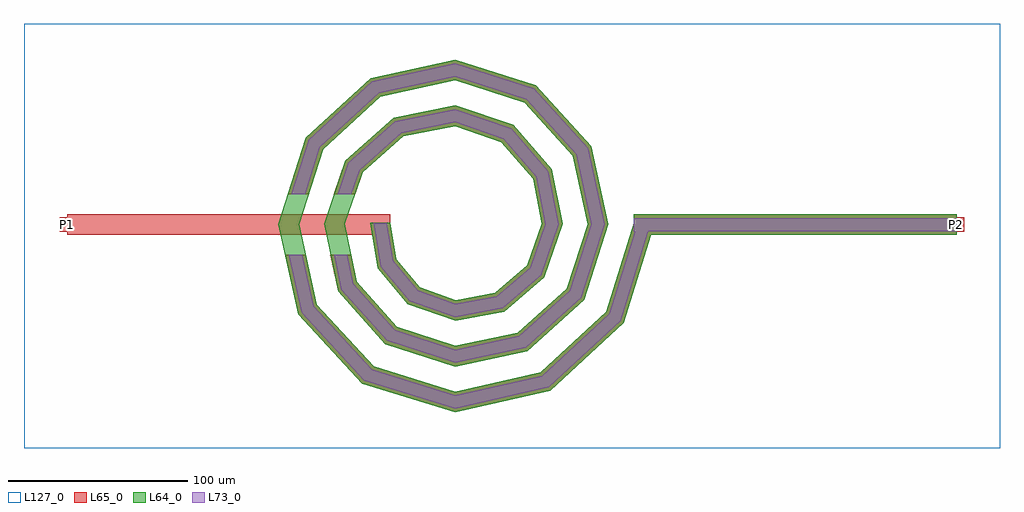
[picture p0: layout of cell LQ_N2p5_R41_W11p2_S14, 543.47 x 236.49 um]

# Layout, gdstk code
import gdstk
lib = gdstk.Library(unit=1e-6, precision=1e-09)
def R(c, l, rs):  # rectangles x0, y0, x1, y1
    for r in rs: c.add(gdstk.rectangle(r[:2], r[2:], *l))
def P(c, l, *ps):  # polygons
    for p in ps: c.add(gdstk.Polygon(p, *l))
L64_0 = (64, 0)
L65_0 = (65, 0)
L73_0 = (73, 0)
L127_0 = (127, 0)

lq_n2p5_r41_w11p2_s14 = lib.new_cell('LQ_N2p5_R41_W11p2_S14')
R(lq_n2p5_r41_w11p2_s14, L64_0, [(99.599,-5.6,279.599,5.6)])
P(lq_n2p5_r41_w11p2_s14, L64_0, [(-32.49,-19.365),(-19.537,-34.841),(0.479,-42.065),(22.491,-38.038),(40.326,-22.774),(48.433,0.423),(43.58,25.631),(26,45.818),(0.379,54.803),(-28.78,49.117),(-51.316,29.219),(-61.174,0.343),(-54.651,-31.937),(-32.432,-56.818),(0.313,-67.545),(35.098,-60.183),(62.322,-35.64),(73.917,0.288),(65.713,38.263),(38.845,67.829),(0.267,80.288),(-41.432,71.241),(-73.338,42.048),(-86.66,0.248),(-76.768,-44.603),(-45.249,-78.848),(0.232,-93.032),(47.775,-82.294),(84.359,-48.447),(99.848,1.654),(110.549,-1.654),(94.171,-54.627),(53.175,-92.557),(0.232,-104.619),(-51.453,-88.645),(-87.045,-49.975),(-98.246,0.248),(-83.117,48.281),(-46.773,81.534),(0.267,91.873),(45.111,77.588),(76.025,43.569),(85.5,0.288),(72.057,-41.944),(40.362,-70.517),(0.313,-79.126),(-38.78,-66.524),(-65.011,-37.151),(-72.752,0.343),(-60.988,35.62),(-33.934,59.508),(0.379,66.377),(32.466,55.448),(54.007,30.711),(60.002,0.423),(49.903,-29.32),(27.478,-48.511),(0.479,-53.626),(-26.184,-44.35),(-43.022,-24.232),(-46.993,0.941),(-35.952,0.941)])
R(lq_n2p5_r41_w11p2_s14, L65_0, [(-215.873,-5.6,-35.873,5.6), (99.599,-5.6,279.599,5.6), (-219.873,-4,-211.873,4), (275.599,-4,283.599,4)])
P(lq_n2p5_r41_w11p2_s14, L65_0, [(-76.768,-44.603),(-45.249,-78.848),(0.232,-93.032),(47.775,-82.294),(84.359,-48.447),(99.848,1.654),(110.549,-1.654),(94.171,-54.627),(53.175,-92.557),(0.232,-104.62),(-51.453,-88.645),(-87.045,-49.975),(-94.444,-16.8),(-82.969,-16.8)],
  [(-54.651,-31.937),(-32.432,-56.818),(0.313,-67.545),(35.098,-60.183),(62.322,-35.64),(73.917,0.288),(65.713,38.263),(38.845,67.829),(0.267,80.288),(-41.432,71.241),(-73.338,42.048),(-81.29,16.8),(-93.033,16.8),(-83.117,48.281),(-46.773,81.534),(0.267,91.873),(45.111,77.588),(76.025,43.569),(85.5,0.288),(72.057,-41.944),(40.362,-70.517),(0.313,-79.126),(-38.78,-66.524),(-65.011,-37.151),(-69.213,-16.8),(-57.776,-16.8)],
  [(-19.537,-34.841),(0.479,-42.065),(22.491,-38.038),(40.326,-22.774),(48.433,0.423),(43.58,25.631),(26,45.818),(0.379,54.803),(-28.78,49.117),(-51.316,29.219),(-55.457,16.8),(-67.264,16.8),(-60.988,35.62),(-33.934,59.508),(0.379,66.377),(32.466,55.448),(54.007,30.711),(60.002,0.423),(49.903,-29.32),(27.478,-48.512),(0.479,-53.626),(-26.184,-44.35),(-43.022,-24.232),(-46.993,0.941),(-35.952,0.941),(-32.49,-19.365)])
R(lq_n2p5_r41_w11p2_s14, L73_0, [(99.599,-3.6,279.599,3.6)])
P(lq_n2p5_r41_w11p2_s14, L73_0, [(-78.603,-45.562),(-46.357,-80.597),(0.149,-95.102),(48.74,-84.127),(86.111,-49.551),(101.759,1.063),(108.638,-1.063),(92.419,-53.524),(52.211,-90.724),(0.149,-102.55),(-50.345,-86.895),(-85.21,-49.016),(-92.395,-16.8),(-85.018,-16.8)],
  [(-56.501,-32.868),(-33.565,-58.551),(0.201,-69.613),(36.038,-62.028),(64.061,-36.766),(75.985,0.185),(67.554,39.211),(39.964,69.572),(0.172,82.357),(-42.386,73.079),(-75.084,43.161),(-83.387,16.8),(-90.936,16.8),(-81.371,47.168),(-45.819,79.696),(0.172,89.804),(43.992,75.845),(74.184,42.622),(83.431,0.185),(70.319,-40.818),(39.422,-68.672),(0.201,-77.058),(-37.646,-64.791),(-63.161,-36.22),(-67.17,-16.8),(-59.819,-16.8)],
  [(-20.724,-36.539),(0.308,-44.129),(23.382,-39.908),(42.036,-23.943),(50.499,0.272),(45.442,26.538),(27.155,47.538),(0.243,56.87),(-29.701,50.973),(-53.043,30.362),(-57.566,16.8),(-65.156,16.8),(-59.261,34.477),(-33.014,57.652),(0.243,64.311),(31.311,53.728),(52.145,29.804),(57.936,0.272),(48.193,-28.151),(26.588,-46.641),(0.308,-51.561),(-24.997,-42.652),(-41.141,-23.363),(-45.021,0.605),(-37.924,0.605),(-34.371,-20.234)])
R(lq_n2p5_r41_w11p2_s14, L127_0, [(-239.873,-124.62,303.599,111.873)])
lq_n2p5_r41_w11p2_s14.add(gdstk.Label('P2', (279.599,0), layer=65, texttype=0))
lq_n2p5_r41_w11p2_s14.add(gdstk.Label('P1', (-215.873,0), layer=65, texttype=0))
lq_n2p5_r41_w11p2_s14.add(gdstk.Label('P2', (283.599,0), layer=145, texttype=0))
lq_n2p5_r41_w11p2_s14.add(gdstk.Label('P1', (-219.873,0), layer=145, texttype=0))

lib.write_gds('LQ_N2p5_R41_W11p2_S14.gds')
